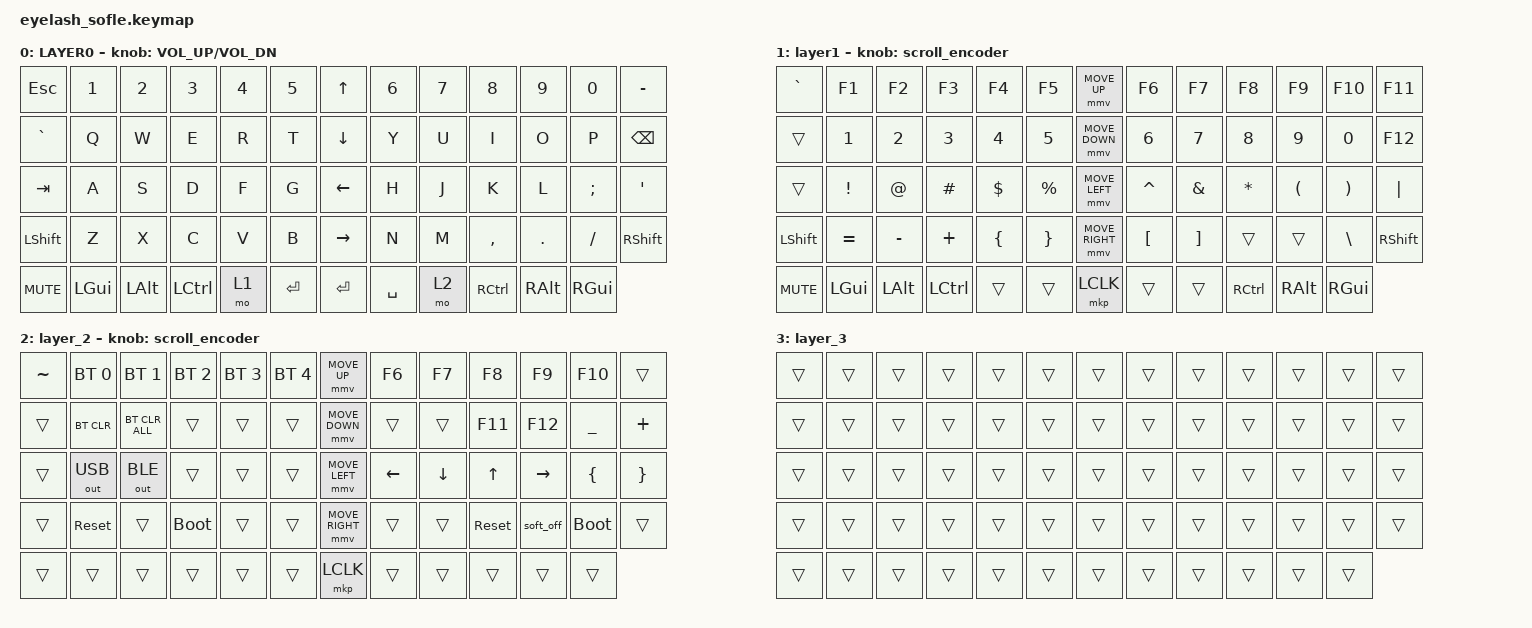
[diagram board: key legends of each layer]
#define ZMK_POINTING_DEFAULT_MOVE_VAL 1200  // 600
#define ZMK_POINTING_DEFAULT_SCRL_VAL 35    // 10

#include <input/processors.dtsi>
#include <zephyr/dt-bindings/input/input-event-codes.h>
#include <behaviors.dtsi>
#include <dt-bindings/zmk/bt.h>
#include <dt-bindings/zmk/keys.h>
#include <dt-bindings/zmk/outputs.h>
#include <dt-bindings/zmk/pointing.h>

/ {
    zip_scroll_scaler: zip_scroll_scaler {
        compatible = "zmk,input-processor-scaler";
        #input-processor-cells = <2>;
        type = <INPUT_EV_REL>;
        codes = <INPUT_REL_WHEEL INPUT_REL_HWHEEL>;
        track-remainders;
    };
};

&mmv_input_listener { input-processors = <&zip_xy_scaler 2 1>; };

&msc_input_listener { input-processors = <&zip_scroll_scaler 2 1>; };

&msc {
    acceleration-exponent = <0>;      // 0
    time-to-max-speed-ms = <0>;       // 300
    delay-ms = <0>;                   // 0
};

&mmv {
    time-to-max-speed-ms = <400>;
    acceleration-exponent = <1>;
};

/ {
    scroll_encoder: scroll_encoder {
        compatible = "zmk,behavior-sensor-rotate";
        #sensor-binding-cells = <0>;
        bindings = <&msc SCRL_DOWN>, <&msc SCRL_UP>;

        tap-ms = <30>;
    };

    behaviors {
    };

    keymap {
        compatible = "zmk,keymap";

        layer0 {
            bindings = <
&kp ESC     &kp N1        &kp N2    &kp N3     &kp N4  &kp N5       &kp UP_ARROW     &kp N6     &kp N7  &kp N8             &kp N9    &kp N0    &kp MINUS
&kp GRAVE   &kp Q         &kp W     &kp E      &kp R   &kp T        &kp DOWN_ARROW   &kp Y      &kp U   &kp I              &kp O     &kp P     &kp BACKSPACE
&kp TAB     &kp A         &kp S     &kp D      &kp F   &kp G        &kp LEFT_ARROW   &kp H      &kp J   &kp K              &kp L     &kp SEMI  &kp APOS
&kp LSHFT   &kp Z         &kp X     &kp C      &kp V   &kp B        &kp RIGHT_ARROW  &kp N      &kp M   &kp COMMA          &kp DOT   &kp FSLH  &kp RSHIFT
&kp C_MUTE  &kp LEFT_GUI  &kp LALT  &kp LCTRL  &mo 1   &kp ENTER    &kp ENTER        &kp SPACE  &mo 2   &kp RIGHT_CONTROL  &kp RALT  &kp RGUI
            >;

            sensor-bindings = <&inc_dec_kp C_VOLUME_UP C_VOL_DN>;
            display-name = "LAYER0";
        };

        layer_1 {
            bindings = <
&kp GRAVE       &kp F1        &kp F2        &kp F3        &kp F4          &kp F5             &mmv MOVE_UP     &kp F6            &kp F7             &kp F8        &kp F9                &kp F10                &kp F11
&trans          &kp NUMBER_1  &kp NUMBER_2  &kp NUMBER_3  &kp NUMBER_4    &kp NUMBER_5       &mmv MOVE_DOWN   &kp NUMBER_6      &kp NUMBER_7       &kp NUMBER_8  &kp NUMBER_9          &kp NUMBER_0           &kp F12
&trans          &kp EXCL      &kp AT        &kp HASH      &kp DOLLAR      &kp PERCENT        &mmv MOVE_LEFT   &kp CARET         &kp AMPERSAND      &kp ASTRK     &kp LEFT_PARENTHESIS  &kp RIGHT_PARENTHESIS  &kp PIPE
&kp LEFT_SHIFT  &kp EQUAL     &kp MINUS     &kp PLUS      &kp LEFT_BRACE  &kp RIGHT_BRACE    &mmv MOVE_RIGHT  &kp LEFT_BRACKET  &kp RIGHT_BRACKET  &trans        &trans                &kp BACKSLASH          &kp RIGHT_SHIFT
&kp C_MUTE      &kp LEFT_GUI  &kp LEFT_ALT  &kp LCTRL     &trans          &trans             &mkp LCLK        &trans            &trans             &kp RCTRL     &kp RIGHT_ALT         &kp RIGHT_GUI
            >;

            display-name = "layer1";
            sensor-bindings = <&scroll_encoder>;
        };

        layer_2 {
            bindings = <
&kp TILDE  &bt BT_SEL 0  &bt BT_SEL 1    &bt BT_SEL 2  &bt BT_SEL 3  &bt BT_SEL 4    &mmv MOVE_UP     &kp F6          &kp F7    &kp F8        &kp F9     &kp F10      &trans
&trans     &bt BT_CLR    &bt BT_CLR_ALL  &trans        &trans        &trans          &mmv MOVE_DOWN   &trans          &trans    &kp F11       &kp F12    &kp UNDER    &kp PLUS
&trans     &out OUT_USB  &out OUT_BLE    &trans        &trans        &trans          &mmv MOVE_LEFT   &kp LEFT_ARROW  &kp DOWN  &kp UP_ARROW  &kp RIGHT  &kp LBRC     &kp RBRC
&trans     &sys_reset    &trans          &bootloader   &trans        &trans          &mmv MOVE_RIGHT  &trans          &trans    &sys_reset    &soft_off  &bootloader  &trans
&trans     &trans        &trans          &trans        &trans        &trans          &mkp LCLK        &trans          &trans    &trans        &trans     &trans
            >;

            sensor-bindings = <&scroll_encoder>;
        };

        layer_3 {
            bindings = <
&trans  &trans  &trans  &trans  &trans  &trans    &trans  &trans  &trans  &trans  &trans  &trans  &trans
&trans  &trans  &trans  &trans  &trans  &trans    &trans  &trans  &trans  &trans  &trans  &trans  &trans
&trans  &trans  &trans  &trans  &trans  &trans    &trans  &trans  &trans  &trans  &trans  &trans  &trans
&trans  &trans  &trans  &trans  &trans  &trans    &trans  &trans  &trans  &trans  &trans  &trans  &trans
&trans  &trans  &trans  &trans  &trans  &trans    &trans  &trans  &trans  &trans  &trans  &trans
            >;
        };
    };
};
